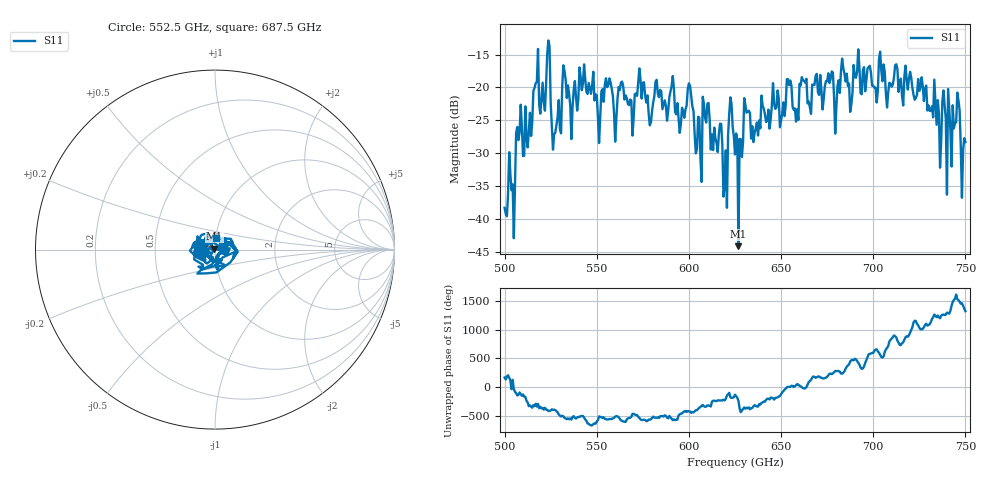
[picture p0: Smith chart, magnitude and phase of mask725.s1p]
!Created with skrf (http://scikit-rf.org).
# GHz S MA R 50.0
!freq magS11 angS11
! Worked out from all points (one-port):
!   401 points, 500 GHz to 750 GHz, reference 50 ohm
!   lowest |S11| = -44.2 dB at 626.9 GHz (marker M1), VSWR 1.01, Z = 49.7 + j0.532 ohm
!   |S11| at or under -10 dB: start of sweep to end of sweep
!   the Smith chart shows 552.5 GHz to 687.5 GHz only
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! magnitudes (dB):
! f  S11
! 500 GHz  -38.3
! 504.4 GHz  -34.8
! 507.5 GHz  -28.0
! 513.8 GHz  -23.9
! 516.9 GHz  -19.4
! 520.6 GHz  -19.3
! 523.8 GHz  -12.8
! 526.9 GHz  -27.1
! 531.2 GHz  -19.9
! 562.5 GHz  -20.4
! 590.6 GHz  -19.8
! 593.8 GHz  -22.4
! 600.6 GHz  -19.8
! 605.6 GHz  -24.6
! 609.4 GHz  -25.3
! 619.4 GHz  -35.0
! 622.5 GHz  -21.5
! 625 GHz  -30.2
! 626.9 GHz  -44.2
! 631.2 GHz  -23.8
! 635 GHz  -28.3
! 656.2 GHz  -23.0
! 680 GHz  -22.9
! 683.8 GHz  -17.1
! 687.5 GHz  -23.7
! 690.6 GHz  -18.5
! 718.8 GHz  -20.3
! 750 GHz  -28.3
